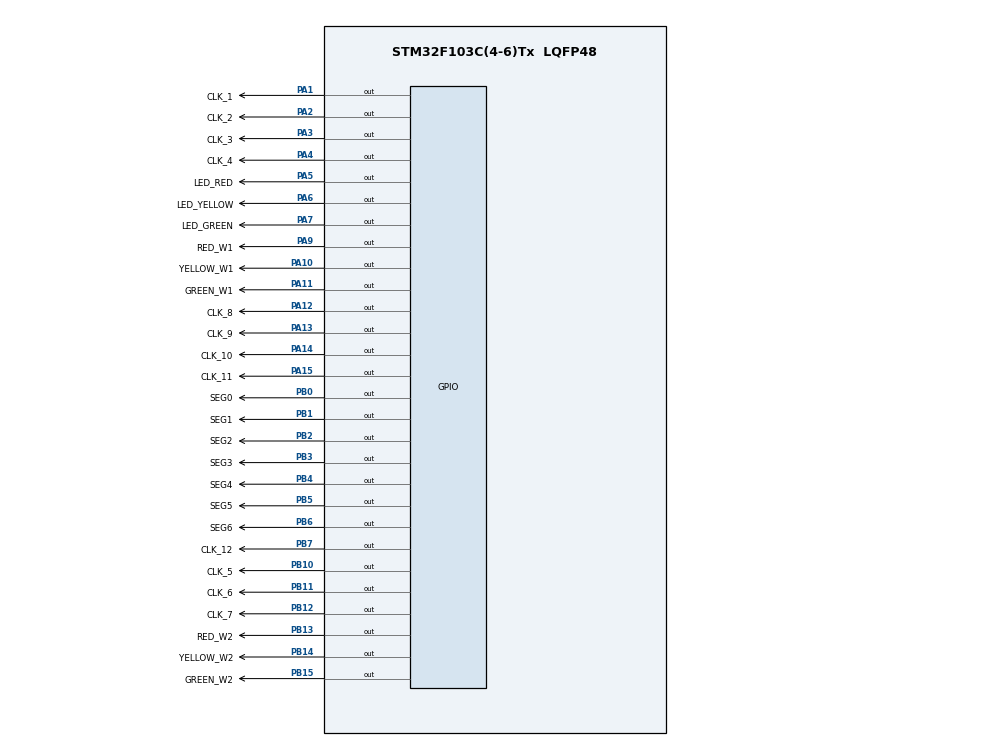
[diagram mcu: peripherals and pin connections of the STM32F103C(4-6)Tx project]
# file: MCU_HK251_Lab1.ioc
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Mcu.Family=STM32F1
Mcu.Name=STM32F103C(4-6)Tx
Mcu.Package=LQFP48
NVIC.PriorityGroup=NVIC_PRIORITYGROUP_4
PA1.GPIO_Label=CLK_1
PA1.Signal=GPIO_Output
PA10.GPIO_Label=YELLOW_W1
PA10.Signal=GPIO_Output
PA11.GPIO_Label=GREEN_W1
PA11.Signal=GPIO_Output
PA12.GPIO_Label=CLK_8
PA12.Signal=GPIO_Output
PA13.GPIO_Label=CLK_9
PA13.Signal=GPIO_Output
PA14.GPIO_Label=CLK_10
PA14.Signal=GPIO_Output
PA15.GPIO_Label=CLK_11
PA15.Signal=GPIO_Output
PA2.GPIO_Label=CLK_2
PA2.Signal=GPIO_Output
PA3.GPIO_Label=CLK_3
PA3.GPIO_PuPd=GPIO_NOPULL
PA3.Signal=GPIO_Output
PA4.GPIO_Label=CLK_4
PA4.GPIO_PuPd=GPIO_NOPULL
PA4.Signal=GPIO_Output
PA5.GPIO_Label=LED_RED
PA5.Signal=GPIO_Output
PA6.GPIO_Label=LED_YELLOW
PA6.Signal=GPIO_Output
PA7.GPIO_Label=LED_GREEN
PA7.Signal=GPIO_Output
PA9.GPIO_Label=RED_W1
PA9.Signal=GPIO_Output
PB0.GPIO_Label=SEG0
PB0.Signal=GPIO_Output
PB1.GPIO_Label=SEG1
PB1.Signal=GPIO_Output
PB10.GPIO_Label=CLK_5
PB10.Signal=GPIO_Output
PB11.GPIO_Label=CLK_6
PB11.Signal=GPIO_Output
PB12.GPIO_Label=CLK_7
PB12.Signal=GPIO_Output
PB13.GPIO_Label=RED_W2
PB13.Signal=GPIO_Output
PB14.GPIO_Label=YELLOW_W2
PB14.Signal=GPIO_Output
PB15.GPIO_Label=GREEN_W2
PB15.Signal=GPIO_Output
PB2.GPIO_Label=SEG2
PB2.Signal=GPIO_Output
PB3.GPIO_Label=SEG3
PB3.Signal=GPIO_Output
PB4.GPIO_Label=SEG4
PB4.Signal=GPIO_Output
PB5.GPIO_Label=SEG5
PB5.Signal=GPIO_Output
PB6.GPIO_Label=SEG6
PB6.Signal=GPIO_Output
PB7.GPIO_Label=CLK_12
PB7.Signal=GPIO_Output
ProjectManager.HeapSize=0x200
ProjectManager.StackSize=0x400
ProjectManager.TargetToolchain=STM32CubeIDE
RCC.APB1Freq_Value=8000000
RCC.APB2Freq_Value=8000000
VP_SYS_VS_ND.Mode=No_Debug
board=custom

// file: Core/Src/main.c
/* USER CODE BEGIN Header */
/**
  ******************************************************************************
  * @file           : main.c
  * @brief          : Main program body
  ******************************************************************************
  * @attention
  *
  * <h2><center>&copy; Copyright (c) 2025 STMicroelectronics.
  * All rights reserved.</center></h2>
  *
  * This software component is licensed by ST under BSD 3-Clause license,
  * the "License"; You may not use this file except in compliance with the
  * License. You may obtain a copy of the License at:
  *                        opensource.org/licenses/BSD-3-Clause
  *
  ******************************************************************************
  */
/* USER CODE END Header */
#include "main.h"
#include "gpio.h"

/* USER CODE BEGIN Includes */
#include "ex1.h"
#include "ex2.h"
#include "ex3.h"
#include "ex4.h"
#include "ex5.h"
#include "ex6.h"
#include "clock.h"
/* USER CODE END Includes */

/* USER CODE BEGIN PM */
//#define ex1
//#define ex2
//#define ex3
//#define ex4
#define ex5
//#define ex6
//#define clock

/* USER CODE END PM */

void SystemClock_Config(void);

int main(void)
{

  /* MCU Configuration--------------------------------------------------------*/

  /* Reset of all peripherals, Initializes the Flash interface and the Systick. */
  HAL_Init();

  /* Configure the system clock */
  SystemClock_Config();

  /* Initialize all configured peripherals */
  MX_GPIO_Init();
  /* USER CODE BEGIN 2 */
#ifdef ex1
  exercise1_init();
#endif
#ifdef ex2
  exercise2_init();
#endif
#ifdef ex3
  exercise3_init();
#endif
#ifdef ex4
  exercise4_init();
#endif
#ifdef ex5
  exercise5_init();
#endif
#ifdef ex6
  exercise6_init();
#endif
#ifdef clock
  clock_init();
#endif

  clock_init();
  /* USER CODE END 2 */

  /* Infinite loop */
  /* USER CODE BEGIN WHILE */
  while (1)
  {
	  //exercise3_run();
#ifdef ex1
	  exercise1_run();
#endif
#ifdef ex2
	  exercise2_run();
#endif
#ifdef ex3
	  exercise3_run();
#endif
#ifdef ex4
	  exercise4_run();
#endif
#ifdef ex5
	  exercise5_run();
#endif
#ifdef ex6
	  exercise6_run();
#endif
#ifdef clock
	  clock_run();
#endif
	  clock_run();
    /* USER CODE END WHILE */

  }
}

void SystemClock_Config(void)
{
  RCC_OscInitTypeDef RCC_OscInitStruct = {0};
  RCC_ClkInitTypeDef RCC_ClkInitStruct = {0};

  /** Initializes the RCC Oscillators according to the specified parameters
  * in the RCC_OscInitTypeDef structure.
  */
  RCC_OscInitStruct.OscillatorType = RCC_OSCILLATORTYPE_HSI;
  RCC_OscInitStruct.HSIState = RCC_HSI_ON;
  RCC_OscInitStruct.HSICalibrationValue = RCC_HSICALIBRATION_DEFAULT;
  RCC_OscInitStruct.PLL.PLLState = RCC_PLL_NONE;
  if (HAL_RCC_OscConfig(&RCC_OscInitStruct) != HAL_OK)
  {
    Error_Handler();
  }
  /** Initializes the CPU, AHB and APB buses clocks
  */
  RCC_ClkInitStruct.ClockType = RCC_CLOCKTYPE_HCLK|RCC_CLOCKTYPE_SYSCLK
                              |RCC_CLOCKTYPE_PCLK1|RCC_CLOCKTYPE_PCLK2;
  RCC_ClkInitStruct.SYSCLKSource = RCC_SYSCLKSOURCE_HSI;
  RCC_ClkInitStruct.AHBCLKDivider = RCC_SYSCLK_DIV1;
  RCC_ClkInitStruct.APB1CLKDivider = RCC_HCLK_DIV1;
  RCC_ClkInitStruct.APB2CLKDivider = RCC_HCLK_DIV1;

  if (HAL_RCC_ClockConfig(&RCC_ClkInitStruct, FLASH_LATENCY_0) != HAL_OK)
  {
    Error_Handler();
  }
}

void Error_Handler(void)
{
  __disable_irq();
  while (1)
  {
  }
}

/************************ (C) COPYRIGHT STMicroelectronics *****END OF FILE****/
